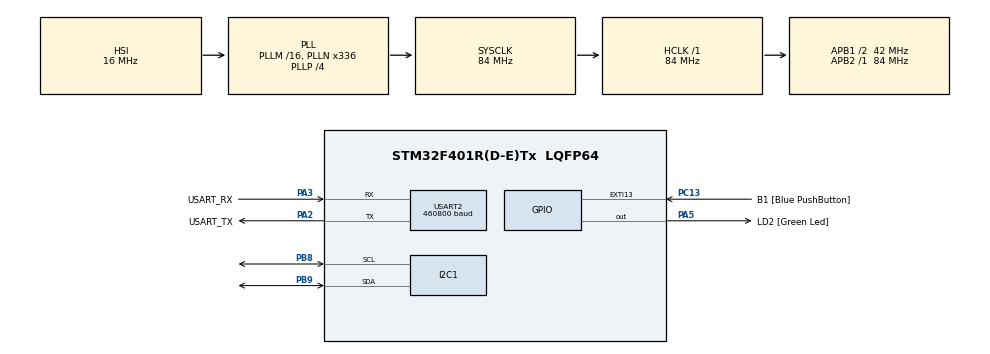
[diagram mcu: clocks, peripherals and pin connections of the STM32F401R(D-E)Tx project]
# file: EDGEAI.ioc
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FREERTOS.Tasks01=SensorTask,40,128,StartSensorTask,Default,NULL,Dynamic,NULL,NULL;AiTask,16,2048,StartAiTask,Default,NULL,Dynamic,NULL,NULL
FREERTOS.configUSE_NEWLIB_REENTRANT=1
I2C1.I2C_Mode=I2C_Fast
Mcu.Family=STM32F4
Mcu.Name=STM32F401R(D-E)Tx
Mcu.Package=LQFP64
NVIC.PriorityGroup=NVIC_PRIORITYGROUP_4
NVIC.TIM2_IRQn=true\:5\:0\:false\:false\:true\:true\:true\:true\:true
NVIC.TIM3_IRQn=true\:15\:0\:false\:false\:true\:false\:false\:true\:true
NVIC.TimeBase=TIM3_IRQn
NVIC.TimeBaseIP=TIM3
PA13.GPIO_Label=TMS
PA13.Mode=Trace_Asynchronous_SW
PA13.Signal=SYS_JTMS-SWDIO
PA14.GPIO_Label=TCK
PA14.Mode=Trace_Asynchronous_SW
PA14.Signal=SYS_JTCK-SWCLK
PA2.GPIO_Label=USART_TX
PA2.GPIO_Mode=GPIO_MODE_AF_PP
PA2.GPIO_PuPd=GPIO_NOPULL
PA2.GPIO_Speed=GPIO_SPEED_FREQ_LOW
PA2.Mode=Asynchronous
PA2.Signal=USART2_TX
PA3.GPIO_Label=USART_RX
PA3.GPIO_Mode=GPIO_MODE_AF_PP
PA3.GPIO_PuPd=GPIO_NOPULL
PA3.GPIO_Speed=GPIO_SPEED_FREQ_LOW
PA3.Mode=Asynchronous
PA3.Signal=USART2_RX
PA5.GPIO_Label=LD2 [Green Led]
PA5.GPIO_Mode=GPIO_MODE_OUTPUT_PP
PA5.GPIO_PuPd=GPIO_NOPULL
PA5.GPIO_Speed=GPIO_SPEED_FREQ_LOW
PA5.Signal=GPIO_Output
PB3.GPIO_Label=SWO
PB3.Mode=Trace_Asynchronous_SW
PB3.Signal=SYS_JTDO-SWO
PB8.GPIO_Pu=GPIO_PULLUP
PB8.Mode=I2C
PB8.Signal=I2C1_SCL
PB9.GPIO_Pu=GPIO_PULLUP
PB9.Mode=I2C
PB9.Signal=I2C1_SDA
PC13-ANTI_TAMP.GPIO_Label=B1 [Blue PushButton]
PC13-ANTI_TAMP.GPIO_ModeDefaultEXTI=GPIO_MODE_IT_FALLING
PC13-ANTI_TAMP.GPIO_PuPd=GPIO_NOPULL
PC13-ANTI_TAMP.Signal=GPXTI13
PC14-OSC32_IN.Mode=LSE-External-Oscillator
PC14-OSC32_IN.Signal=RCC_OSC32_IN
PC15-OSC32_OUT.Mode=LSE-External-Oscillator
PC15-OSC32_OUT.Signal=RCC_OSC32_OUT
PH0\ -\ OSC_IN.Mode=HSE-External-Clock-Source
PH0\ -\ OSC_IN.Signal=RCC_OSC_IN
PH1\ -\ OSC_OUT.Mode=HSE-External-Clock-Source
PH1\ -\ OSC_OUT.Signal=RCC_OSC_OUT
ProjectManager.HeapSize=0x200
ProjectManager.StackSize=0x400
ProjectManager.TargetToolchain=STM32CubeIDE
RCC.48MHZClocksFreq_Value=48000000
RCC.AHBFreq_Value=84000000
RCC.APB1CLKDivider=RCC_HCLK_DIV2
RCC.APB1Freq_Value=42000000
RCC.APB1TimFreq_Value=84000000
RCC.APB2Freq_Value=84000000
RCC.APB2TimFreq_Value=84000000
RCC.CortexFreq_Value=84000000
RCC.HCLKFreq_Value=84000000
RCC.HSE_VALUE=8000000
RCC.HSI_VALUE=16000000
RCC.PLLN=336
RCC.PLLP=RCC_PLLP_DIV4
RCC.PLLQ=7
RCC.SYSCLKFreq_VALUE=84000000
RCC.SYSCLKSource=RCC_SYSCLKSOURCE_PLLCLK
RCC.VCOOutputFreq_Value=336000000
TIM2.Period=199
TIM2.Prescaler=839
USART2.BaudRate=460800
USART2.VirtualMode=VM_ASYNC
VP_FREERTOS_VS_CMSIS_V2.Mode=CMSIS_V2
VP_SYS_VS_tim3.Mode=TIM3
VP_TIM2_VS_ClockSourceINT.Mode=Internal
board=NUCLEO-F401RE

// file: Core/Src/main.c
/* USER CODE BEGIN Header */
/**
  ******************************************************************************
  * @file           : main.c
  * @brief          : Main program body
  ******************************************************************************
  * @attention
  *
  * Copyright (c) 2026 STMicroelectronics.
  * All rights reserved.
  *
  * This software is licensed under terms that can be found in the LICENSE file
  * in the root directory of this software component.
  * If no LICENSE file comes with this software, it is provided AS-IS.
  *
  ******************************************************************************
  */
/* USER CODE END Header */
#include "main.h"
#include "cmsis_os.h"

/* USER CODE BEGIN Includes */
#include <string.h>
#include <stdio.h>
#include "NanoEdgeAI.h"
/* USER CODE END Includes */

I2C_HandleTypeDef hi2c1;

TIM_HandleTypeDef htim2;

UART_HandleTypeDef huart2;

/* Definitions for SensorTask */
osThreadId_t SensorTaskHandle;
const osThreadAttr_t SensorTask_attributes = {
  .name = "SensorTask",
  .stack_size = 128 * 4,
  .priority = (osPriority_t) osPriorityHigh,
};
/* Definitions for AiTask */
osThreadId_t AiTaskHandle;
const osThreadAttr_t AiTask_attributes = {
  .name = "AiTask",
  .stack_size = 2048 * 4,
  .priority = (osPriority_t) osPriorityBelowNormal,
};
/* USER CODE BEGIN PV */

uint8_t MPU_ADDR = (0x68 << 1);
uint8_t raw_data[6];

float ai_input_buffer[NEAI_INPUT_SIGNAL_LENGTH * NEAI_INPUT_AXIS_NUMBER]; //hold 1 second of vibration data = 1536 floats
float ai_output_probabilities[NEAI_NUMBER_OF_CLASSES];

int ai_detected_class = 0 ;

int sample_count =0 ;

/* USER CODE END PV */

void SystemClock_Config(void);
static void MX_GPIO_Init(void);
static void MX_USART2_UART_Init(void);
static void MX_I2C1_Init(void);
static void MX_TIM2_Init(void);
void StartSensorTask(void *argument);
void StartAiTask(void *argument);

int main(void)
{

  /* MCU Configuration--------------------------------------------------------*/

  /* Reset of all peripherals, Initializes the Flash interface and the Systick. */
  HAL_Init();

  /* Configure the system clock */
  SystemClock_Config();

  /* Initialize all configured peripherals */
  MX_GPIO_Init();
  MX_USART2_UART_Init();
  MX_I2C1_Init();
  MX_TIM2_Init();
  /* USER CODE BEGIN 2 */

  uint8_t power_mgmt_config = 0x00;
  HAL_I2C_Mem_Write(&hi2c1, MPU_ADDR, 0x6B, 1, &power_mgmt_config, 1, 100);
  //Configure Sensitivity
  uint8_t accel_fs = 0x10;
  HAL_I2C_Mem_Write(&hi2c1, MPU_ADDR, 0x1C, 1, &accel_fs, 1, 100);

  //HAL_TIM_Base_Start_IT(&htim2);not needed , since using RTOS now .
  /* USER CODE END 2 */

  /* Init scheduler */
  osKernelInitialize();

  /* Create the thread(s) */
  /* creation of SensorTask */
  SensorTaskHandle = osThreadNew(StartSensorTask, NULL, &SensorTask_attributes);

  /* creation of AiTask */
  AiTaskHandle = osThreadNew(StartAiTask, NULL, &AiTask_attributes);
  neai_classification_init();

  /* Start scheduler */
  osKernelStart();

  /* We should never get here as control is now taken by the scheduler */

  /* Infinite loop */
  while (1)
    {
    }

}

void SystemClock_Config(void)
{
  RCC_OscInitTypeDef RCC_OscInitStruct = {0};
  RCC_ClkInitTypeDef RCC_ClkInitStruct = {0};

  /** Configure the main internal regulator output voltage
  */
  __HAL_RCC_PWR_CLK_ENABLE();
  __HAL_PWR_VOLTAGESCALING_CONFIG(PWR_REGULATOR_VOLTAGE_SCALE2);

  /** Initializes the RCC Oscillators according to the specified parameters
  * in the RCC_OscInitTypeDef structure.
  */
  RCC_OscInitStruct.OscillatorType = RCC_OSCILLATORTYPE_HSI;
  RCC_OscInitStruct.HSIState = RCC_HSI_ON;
  RCC_OscInitStruct.HSICalibrationValue = RCC_HSICALIBRATION_DEFAULT;
  RCC_OscInitStruct.PLL.PLLState = RCC_PLL_ON;
  RCC_OscInitStruct.PLL.PLLSource = RCC_PLLSOURCE_HSI;
  RCC_OscInitStruct.PLL.PLLM = 16;
  RCC_OscInitStruct.PLL.PLLN = 336;
  RCC_OscInitStruct.PLL.PLLP = RCC_PLLP_DIV4;
  RCC_OscInitStruct.PLL.PLLQ = 7;
  if (HAL_RCC_OscConfig(&RCC_OscInitStruct) != HAL_OK)
  {
    Error_Handler();
  }

  /** Initializes the CPU, AHB and APB buses clocks
  */
  RCC_ClkInitStruct.ClockType = RCC_CLOCKTYPE_HCLK|RCC_CLOCKTYPE_SYSCLK
                              |RCC_CLOCKTYPE_PCLK1|RCC_CLOCKTYPE_PCLK2;
  RCC_ClkInitStruct.SYSCLKSource = RCC_SYSCLKSOURCE_PLLCLK;
  RCC_ClkInitStruct.AHBCLKDivider = RCC_SYSCLK_DIV1;
  RCC_ClkInitStruct.APB1CLKDivider = RCC_HCLK_DIV2;
  RCC_ClkInitStruct.APB2CLKDivider = RCC_HCLK_DIV1;

  if (HAL_RCC_ClockConfig(&RCC_ClkInitStruct, FLASH_LATENCY_2) != HAL_OK)
  {
    Error_Handler();
  }
}

static void MX_I2C1_Init(void)
{

  hi2c1.Instance = I2C1;
  hi2c1.Init.ClockSpeed = 400000;
  hi2c1.Init.DutyCycle = I2C_DUTYCYCLE_2;
  hi2c1.Init.OwnAddress1 = 0;
  hi2c1.Init.AddressingMode = I2C_ADDRESSINGMODE_7BIT;
  hi2c1.Init.DualAddressMode = I2C_DUALADDRESS_DISABLE;
  hi2c1.Init.OwnAddress2 = 0;
  hi2c1.Init.GeneralCallMode = I2C_GENERALCALL_DISABLE;
  hi2c1.Init.NoStretchMode = I2C_NOSTRETCH_DISABLE;
  if (HAL_I2C_Init(&hi2c1) != HAL_OK)
  {
    Error_Handler();
  }

}

static void MX_TIM2_Init(void)
{

  TIM_ClockConfigTypeDef sClockSourceConfig = {0};
  TIM_MasterConfigTypeDef sMasterConfig = {0};

  htim2.Instance = TIM2;
  htim2.Init.Prescaler = 839;
  htim2.Init.CounterMode = TIM_COUNTERMODE_UP;
  htim2.Init.Period = 199;
  htim2.Init.ClockDivision = TIM_CLOCKDIVISION_DIV1;
  htim2.Init.AutoReloadPreload = TIM_AUTORELOAD_PRELOAD_DISABLE;
  if (HAL_TIM_Base_Init(&htim2) != HAL_OK)
  {
    Error_Handler();
  }
  sClockSourceConfig.ClockSource = TIM_CLOCKSOURCE_INTERNAL;
  if (HAL_TIM_ConfigClockSource(&htim2, &sClockSourceConfig) != HAL_OK)
  {
    Error_Handler();
  }
  sMasterConfig.MasterOutputTrigger = TIM_TRGO_RESET;
  sMasterConfig.MasterSlaveMode = TIM_MASTERSLAVEMODE_DISABLE;
  if (HAL_TIMEx_MasterConfigSynchronization(&htim2, &sMasterConfig) != HAL_OK)
  {
    Error_Handler();
  }

}

static void MX_USART2_UART_Init(void)
{

  huart2.Instance = USART2;
  huart2.Init.BaudRate = 460800;
  huart2.Init.WordLength = UART_WORDLENGTH_8B;
  huart2.Init.StopBits = UART_STOPBITS_1;
  huart2.Init.Parity = UART_PARITY_NONE;
  huart2.Init.Mode = UART_MODE_TX_RX;
  huart2.Init.HwFlowCtl = UART_HWCONTROL_NONE;
  huart2.Init.OverSampling = UART_OVERSAMPLING_16;
  if (HAL_UART_Init(&huart2) != HAL_OK)
  {
    Error_Handler();
  }

}

static void MX_GPIO_Init(void)
{
  GPIO_InitTypeDef GPIO_InitStruct = {0};

  /* GPIO Ports Clock Enable */
  __HAL_RCC_GPIOC_CLK_ENABLE();
  __HAL_RCC_GPIOH_CLK_ENABLE();
  __HAL_RCC_GPIOA_CLK_ENABLE();
  __HAL_RCC_GPIOB_CLK_ENABLE();

  /*Configure GPIO pin Output Level */
  HAL_GPIO_WritePin(LD2_GPIO_Port, LD2_Pin, GPIO_PIN_RESET);

  /*Configure GPIO pin : B1_Pin */
  GPIO_InitStruct.Pin = B1_Pin;
  GPIO_InitStruct.Mode = GPIO_MODE_IT_FALLING;
  GPIO_InitStruct.Pull = GPIO_NOPULL;
  HAL_GPIO_Init(B1_GPIO_Port, &GPIO_InitStruct);

  /*Configure GPIO pin : LD2_Pin */
  GPIO_InitStruct.Pin = LD2_Pin;
  GPIO_InitStruct.Mode = GPIO_MODE_OUTPUT_PP;
  GPIO_InitStruct.Pull = GPIO_NOPULL;
  GPIO_InitStruct.Speed = GPIO_SPEED_FREQ_LOW;
  HAL_GPIO_Init(LD2_GPIO_Port, &GPIO_InitStruct);

}

void StartSensorTask(void *argument)
{
  /* USER CODE BEGIN 5 */
  /* Infinite loop */
  for(;;)
  {
    // 1. Try to read the raw data from MPU6050
    if (HAL_I2C_Mem_Read(&hi2c1, MPU_ADDR, 0x3B, 1, raw_data, 6, 10) == HAL_OK)
    {
        // 2. Convert raw bytes to standard integers, then cast to float for the AI
        ai_input_buffer[sample_count++] = (float)((int16_t)(raw_data[0] << 8 | raw_data[1]));
        ai_input_buffer[sample_count++] = (float)((int16_t)(raw_data[2] << 8 | raw_data[3]));
        ai_input_buffer[sample_count++] = (float)((int16_t)(raw_data[4] << 8 | raw_data[5]));

        // 3. Check if we have collected exactly 512 samples
        if (sample_count >= (NEAI_INPUT_SIGNAL_LENGTH * NEAI_INPUT_AXIS_NUMBER))
        {
            // The bucket is full! Send a "Wake Up" flag to the AiTask instantly
            osThreadFlagsSet(AiTaskHandle, 0x01);

            // Reset bucket for the next batch
            sample_count = 0;
        }
    }
    else
    {
        // --- CRASH DETECTED! EXECUTE I2C RECOVERY ---

        // 1. Sledgehammer the I2C peripheral silicon
        __HAL_RCC_I2C1_FORCE_RESET();
        osDelay(1); // Wait 1 millisecond (using FreeRTOS delay, NOT HAL_Delay)
        __HAL_RCC_I2C1_RELEASE_RESET();

        // 2. Re-initialize the software configuration
        HAL_I2C_Init(&hi2c1);

        // 3. Re-send the Wake-Up command to the MPU6050
        uint8_t wakeup_data = 0x00;
        HAL_I2C_Mem_Write(&hi2c1, MPU_ADDR, 0x6B, 1, &wakeup_data, 1, 10);

        // 4. Trash the current AI bucket. If the sensor glitched, the data is corrupt.
        sample_count = 0;
    }

    // 5. Go to sleep for 2ms to maintain a perfect 500Hz loop.
    osDelay(2);
  }
  /* USER CODE END 5 */
}

void StartAiTask(void *argument)
{
  /* USER CODE BEGIN StartAiTask */
	char uart_output[64];

  /* Infinite loop */
  for(;;)
  {
	osThreadFlagsWait(0x01, osFlagsWaitAny, osWaitForever);
	neai_classification(ai_input_buffer,ai_output_probabilities,&ai_detected_class);
	if(ai_detected_class == 1){
		sprintf(uart_output,"Status: Healthy Motor State! \r\n");
	}
	else if (ai_detected_class == 2){
		sprintf(uart_output,"Status: Imbalance Fault ! \r\n");
	}
	else {
		sprintf(uart_output,"An Anomaly (Unknown) is detected !\r\n");
	}
	HAL_UART_Transmit(&huart2, (uint8_t*)uart_output, strlen(uart_output), 10);

  }
  /* USER CODE END StartAiTask */
}

void HAL_TIM_PeriodElapsedCallback(TIM_HandleTypeDef *htim)
{
  if (htim->Instance == TIM3)
  {
    HAL_IncTick();
  }
}

void Error_Handler(void)
{
  __disable_irq();
  while (1)
  {
  }
}
